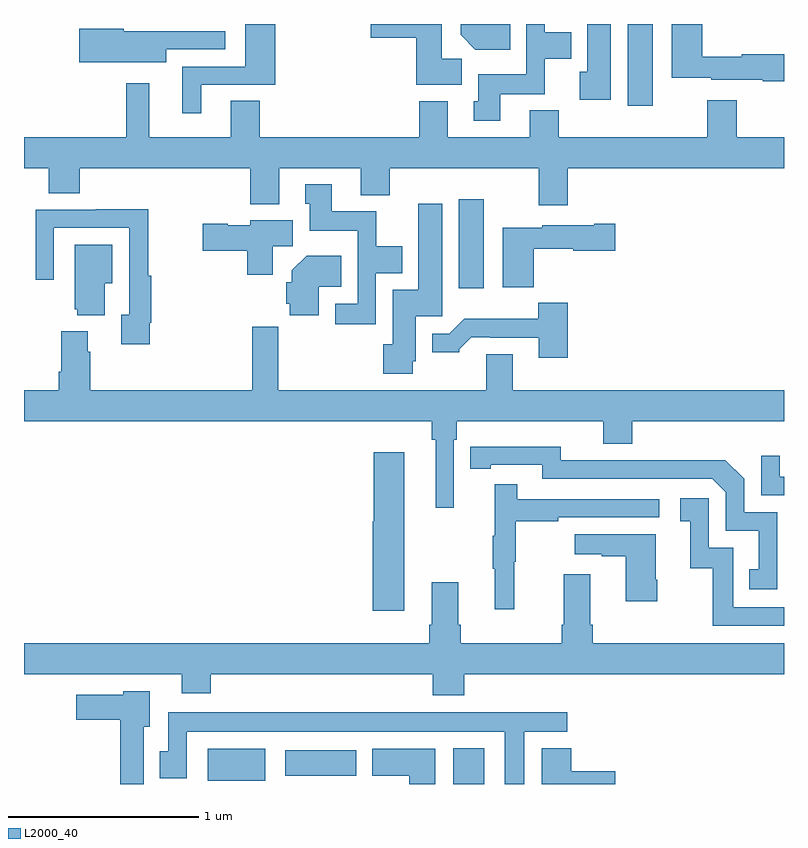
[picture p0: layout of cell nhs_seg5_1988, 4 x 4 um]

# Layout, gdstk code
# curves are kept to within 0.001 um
import gdstk
lib = gdstk.Library(unit=1e-6, precision=1e-09)
def R(c, l, rs):  # rectangles x0, y0, x1, y1
    for r in rs: c.add(gdstk.rectangle(r[:2], r[2:], *l))
def P(c, l, *ps):  # polygons
    for p in ps: c.add(gdstk.Polygon(p, *l))
L2000_40 = (2000, 40)

nhs_seg5_1988 = lib.new_cell('nhs_seg5_1988')
R(nhs_seg5_1988, L2000_40, [(229.259,906.799,229.423,906.988), (227.966,906.815,228.271,906.985), (228.375,906.842,228.748,906.976), (229.289,909.408,229.42,909.877), (230.177,910.368,230.308,910.799)])
P(nhs_seg5_1988, L2000_40, [(230.089,910.799),(229.964,910.799),(229.964,910.547),(229.925,910.547),(229.925,910.4),(230.089,910.4)],
  [(231,910.64),(230.778,910.64),(230.778,910.627),(230.57,910.627),(230.57,910.799),(230.408,910.799),(230.408,910.517),(230.616,910.517),(230.616,910.505),(230.888,910.505),(230.888,910.498),(231,910.498)],
  [(229.559,910.799),(229.298,910.799),(229.298,910.742),(229.376,910.664),(229.559,910.664)],
  [(227.932,910.479),(228.323,910.479),(228.323,910.799),(228.164,910.799),(228.164,910.575),(227.834,910.575),(227.834,910.329),(227.932,910.329)],
  [(229.507,910.43),(229.742,910.43),(229.742,910.617),(229.879,910.617),(229.879,910.756),(229.74,910.756),(229.74,910.799),(229.644,910.799),(229.644,910.534),(229.391,910.534),(229.391,910.392),(229.367,910.392),(229.367,910.29),(229.507,910.29)],
  [(229.303,910.616),(229.198,910.616),(229.198,910.799),(228.824,910.799),(228.824,910.727),(229.064,910.727),(229.064,910.478),(229.303,910.478)],
  [(227.749,910.665),(228.058,910.665),(228.058,910.761),(227.745,910.761),(227.745,910.762),(227.526,910.762),(227.526,910.775),(227.292,910.775),(227.292,910.597),(227.749,910.597)],
  [(229.862,910.04),(231,910.04),(231,910.204),(230.75,910.204),(230.75,910.399),(230.597,910.399),(230.597,910.204),(229.814,910.204),(229.814,910.345),(229.661,910.345),(229.661,910.204),(229.231,910.204),(229.231,910.393),(229.079,910.393),(229.079,910.204),(228.242,910.204),(228.242,910.394),(228.089,910.394),(228.089,910.204),(227.659,910.204),(227.659,910.486),(227.538,910.486),(227.538,910.204),(227,910.204),(227,910.04),(227.129,910.04),(227.129,909.907),(227.294,909.907),(227.294,910.04),(228.191,910.04),(228.191,909.851),(228.343,909.851),(228.343,910.04),(228.773,910.04),(228.773,909.899),(228.926,909.899),(228.926,910.04),(229.709,910.04),(229.709,909.846),(229.862,909.846)],
  [(228.852,909.488),(228.991,909.488),(228.991,909.628),(228.855,909.628),(228.855,909.814),(228.619,909.814),(228.619,909.955),(228.479,909.955),(228.479,909.852),(228.503,909.852),(228.503,909.71),(228.756,909.71),(228.756,909.327),(228.639,909.327),(228.639,909.219),(228.852,909.219)],
  [(229.047,909.024),(229.063,909.024),(229.063,909.261),(229.201,909.261),(229.201,909.853),(229.076,909.853),(229.076,909.4),(228.941,909.4),(228.941,909.114),(228.89,909.114),(228.89,908.958),(229.047,908.958)],
  [(227.662,909.226),(227.669,909.226),(227.669,909.473),(227.654,909.473),(227.654,909.824),(227.377,909.824),(227.377,909.822),(227.061,909.822),(227.061,909.453),(227.157,909.453),(227.157,909.726),(227.553,909.726),(227.553,909.27),(227.513,909.27),(227.513,909.114),(227.662,909.114)],
  [(228.309,909.628),(228.415,909.628),(228.415,909.766),(228.192,909.766),(228.192,909.739),(228.072,909.739),(228.072,909.747),(227.94,909.747),(227.94,909.605),(228.176,909.605),(228.176,909.48),(228.309,909.48)],
  [(229.682,909.617),(229.89,909.617),(229.89,909.605),(230.113,909.605),(230.113,909.747),(230,909.747),(230,909.739),(229.728,909.739),(229.728,909.727),(229.52,909.727),(229.52,909.413),(229.682,909.413)],
  [(227.425,909.434),(227.464,909.434),(227.464,909.637),(227.267,909.637),(227.267,909.297),(227.279,909.297),(227.279,909.266),(227.425,909.266)],
  [(228.55,909.416),(228.671,909.416),(228.671,909.58),(228.488,909.58),(228.41,909.502),(228.41,909.441),(228.381,909.441),(228.381,909.327),(228.398,909.327),(228.398,909.266),(228.55,909.266)],
  [(229.862,909.331),(229.707,909.331),(229.707,909.247),(229.318,909.247),(229.239,909.168),(229.148,909.168),(229.148,909.071),(229.29,909.071),(229.29,909.086),(229.354,909.15),(229.453,909.15),(229.453,909.147),(229.709,909.147),(229.709,909.042),(229.862,909.042)],
  [(229.433,909.062),(229.433,908.872),(228.338,908.872),(228.338,909.205),(228.202,909.205),(228.202,908.872),(227.348,908.872),(227.348,909.074),(227.335,909.074),(227.335,909.181),(227.195,909.181),(227.195,908.968),(227.183,908.968),(227.183,908.872),(227,908.872),(227,908.708),(229.147,908.708),(229.147,908.612),(229.166,908.612),(229.166,908.253),(229.263,908.253),(229.263,908.612),(229.277,908.612),(229.277,908.708),(230.048,908.708),(230.048,908.591),(230.201,908.591),(230.201,908.708),(231,908.708),(231,908.872),(229.573,908.872),(229.573,909.062)],
  [(230.964,908.229),(230.79,908.229),(230.79,908.406),(230.692,908.504),(230.284,908.504),(230.284,908.502),(229.824,908.502),(229.824,908.575),(229.348,908.574),(229.348,908.458),(229.456,908.458),(229.456,908.478),(229.728,908.478),(229.728,908.406),(230.622,908.406),(230.694,908.334),(230.694,908.133),(230.867,908.133),(230.867,907.929),(230.818,907.929),(230.818,907.824),(230.964,907.824)],
  [(229,908.545),(228.842,908.545),(228.842,908.181),(228.836,908.181),(228.836,907.71),(229,907.71)],
  [(231,908.415),(230.977,908.415),(230.977,908.527),(230.88,908.527),(230.88,908.319),(231,908.319)],
  [(229.58,907.968),(229.588,907.968),(229.588,908.182),(229.811,908.182),(229.811,908.202),(230.344,908.202),(230.344,908.298),(229.595,908.298),(229.595,908.377),(229.478,908.377),(229.478,908.105),(229.467,908.105),(229.467,907.931),(229.478,907.931),(229.478,907.719),(229.58,907.719)],
  [(231,907.728),(230.733,907.728),(230.733,908.043),(230.604,908.043),(230.604,908.302),(230.454,908.302),(230.454,908.181),(230.507,908.181),(230.507,907.935),(230.625,907.935),(230.625,907.632),(231,907.632)],
  [(230.334,907.873),(230.326,907.873),(230.326,908.113),(229.899,908.113),(229.899,908.009),(230.042,908.009),(230.042,907.999),(230.168,907.999),(230.168,907.761),(230.334,907.761)],
  [(229.145,907.861),(229.145,907.636),(229.133,907.636),(229.133,907.54),(227,907.54),(227,907.376),(227.831,907.376),(227.831,907.277),(227.984,907.277),(227.984,907.376),(229.151,907.376),(229.151,907.265),(229.316,907.265),(229.316,907.376),(231,907.376),(231,907.54),(229.994,907.54),(229.994,907.636),(229.981,907.636),(229.981,907.903),(229.841,907.903),(229.841,907.636),(229.829,907.636),(229.829,907.54),(229.298,907.54),(229.298,907.636),(229.285,907.636),(229.285,907.861)],
  [(227.629,907.101),(227.662,907.101),(227.662,907.288),(227.523,907.288),(227.523,907.27),(227.274,907.27),(227.274,907.136),(227.507,907.136),(227.507,906.799),(227.629,906.799)],
  [(229.633,907.073),(229.858,907.073),(229.858,907.177),(227.759,907.177),(227.759,906.972),(227.714,906.972),(227.714,906.828),(227.856,906.828),(227.856,907.073),(229.529,907.073),(229.529,906.799),(229.633,906.799)],
  [(230.113,906.866),(229.88,906.866),(229.88,906.988),(229.724,906.988),(229.724,906.799),(230.113,906.799)],
  [(229.165,906.985),(228.833,906.985),(228.833,906.842),(229.028,906.842),(229.028,906.799),(229.165,906.799)])

lib.write_gds('nhs_seg5_1988.gds')
